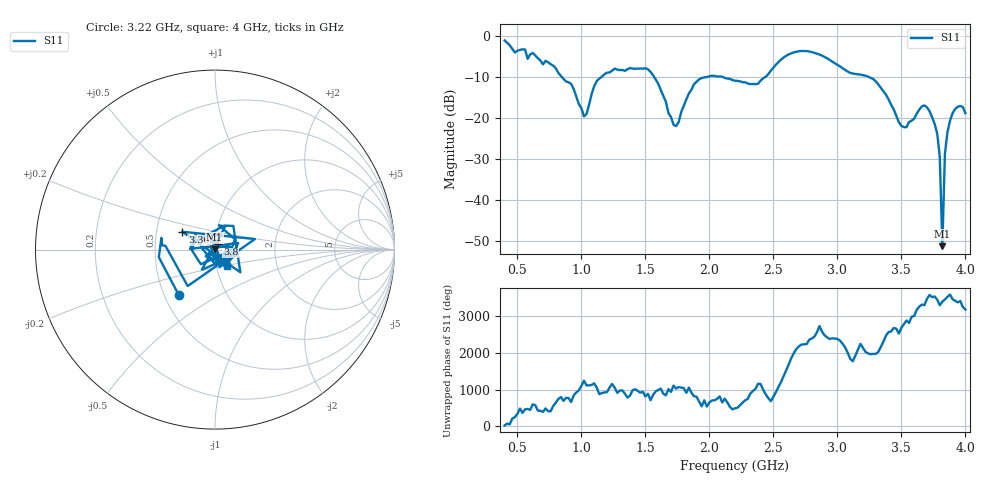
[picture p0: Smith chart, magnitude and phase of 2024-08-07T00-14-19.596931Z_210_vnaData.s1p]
!Created with skrf (http://scikit-rf.org).
# Hz S RI R 50.0
!freq ReS11 ImS11
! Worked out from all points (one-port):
!   181 points, 400 MHz to 4 GHz, reference 50 ohm
!   lowest |S11| = -51.3 dB at 3.82 GHz (marker M1), VSWR 1.01, Z = 49.7 + j0.0861 ohm
!   |S11| at or under -10 dB: 1.567 GHz to 1.992 GHz (425.2 MHz wide, 23.9 % of centre); 2.092 GHz to 2.441 GHz (349.1 MHz wide, 15.4 % of centre); 3.239 GHz to end of sweep (the widest 3 of 4)
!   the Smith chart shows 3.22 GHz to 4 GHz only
!   S11 on the Smith chart (normalised r, x): 3.22 GHz: 0.59, -0.34; 3.36 GHz: 0.68, +0.14; 3.8 GHz: 1.03, +0.06; 4 GHz: 1.13, -0.21
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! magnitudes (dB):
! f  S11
! 400 MHz  -1.2
! 860 MHz  -10.6
! 920 MHz  -11.8
! 1.02 GHz  -19.7
! 1.12 GHz  -11.1
! 1.3 GHz  -8.4
! 1.52 GHz  -8.2
! 1.6 GHz  -11.7
! 1.72 GHz  -21.7
! 1.76 GHz  -21.1
! 1.84 GHz  -14.1
! 1.92 GHz  -10.7
! 2.2 GHz  -11.0
! 2.38 GHz  -11.7
! 2.66 GHz  -4.1
! 3.1 GHz  -9.1
! 3.22 GHz  -9.8
! 3.36 GHz  -13.6
! 3.5 GHz  -22.0
! 3.56 GHz  -21.0
! 3.7 GHz  -17.5
! 3.78 GHz  -23.9
! 3.8 GHz  -29.5
! 3.82 GHz  -51.3
! 3.84 GHz  -28.8
! 3.86 GHz  -23.5
! 3.92 GHz  -17.9
! 4 GHz  -18.9
